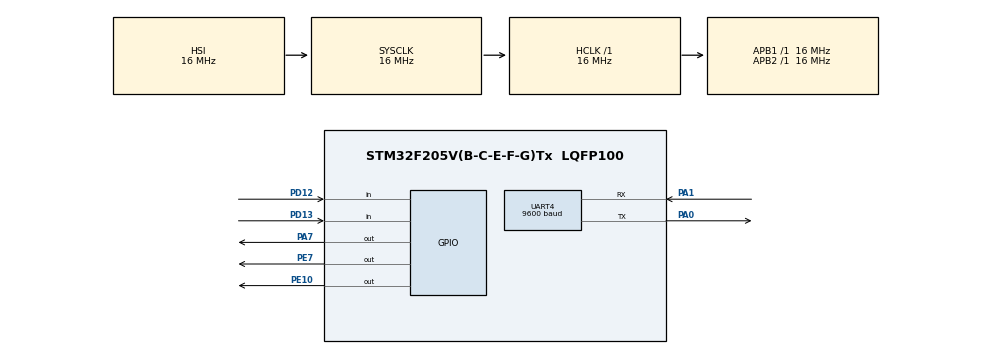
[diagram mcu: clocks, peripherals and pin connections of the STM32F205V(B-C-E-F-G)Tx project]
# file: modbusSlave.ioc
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Mcu.Family=STM32F2
Mcu.Name=STM32F205V(B-C-E-F-G)Tx
Mcu.Package=LQFP100
NVIC.PriorityGroup=NVIC_PRIORITYGROUP_4
NVIC.UART4_IRQn=true\:0\:0\:false\:false\:true\:true\:true\:true
PA0-WKUP.Mode=Asynchronous
PA0-WKUP.Signal=UART4_TX
PA1.Mode=Asynchronous
PA1.Signal=UART4_RX
PA13.Mode=Serial_Wire
PA13.Signal=SYS_JTMS-SWDIO
PA14.Mode=Serial_Wire
PA14.Signal=SYS_JTCK-SWCLK
PA7.PinState=GPIO_PIN_SET
PA7.Signal=GPIO_Output
PD12.GPIO_PuPd=GPIO_PULLUP
PD12.Signal=GPIO_Input
PD13.GPIO_PuPd=GPIO_PULLUP
PD13.Signal=GPIO_Input
PE10.PinState=GPIO_PIN_SET
PE10.Signal=GPIO_Output
PE7.PinState=GPIO_PIN_SET
PE7.Signal=GPIO_Output
ProjectManager.HeapSize=0x200
ProjectManager.StackSize=0x400
ProjectManager.TargetToolchain=STM32CubeIDE
RCC.48MHZClocksFreq_Value=48000000
RCC.AHBFreq_Value=16000000
RCC.APB1Freq_Value=16000000
RCC.APB2Freq_Value=16000000
RCC.CortexFreq_Value=16000000
RCC.HSE_VALUE=25000000
RCC.HSI_VALUE=16000000
RCC.LSE_VALUE=32768
RCC.SYSCLKFreq_VALUE=16000000
RCC.VCOOutputFreq_Value=192000000
UART4.BaudRate=9600
UART4.StopBits=UART_STOPBITS_2
UART4.VirtualMode=Asynchronous
board=custom

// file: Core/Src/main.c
/* USER CODE BEGIN Header */
/**
  ******************************************************************************
  * @file           : main.c
  * @brief          : Main program body
  ******************************************************************************
  * @attention
  *
  * Copyright (c) 2025 STMicroelectronics.
  * All rights reserved.
  *
  * This software is licensed under terms that can be found in the LICENSE file
  * in the root directory of this software component.
  * If no LICENSE file comes with this software, it is provided AS-IS.
  *
  ******************************************************************************
  */
/* USER CODE END Header */
#include "main.h"

/* USER CODE BEGIN Includes */
#include <stdio.h>
#include <string.h>
/* USER CODE END Includes */

/* USER CODE BEGIN PTD */
typedef struct {
  uint8_t low;
  uint8_t high;
} crc_result_t;
/* USER CODE END PTD */

/* USER CODE BEGIN PD */
#define slaveAdd 0x02
#define uartTimeOut 50
/* USER CODE END PD */

/* USER CODE BEGIN PM */
crc_result_t get_CRC16(const uint8_t* data, size_t length);
void Response_ReadHoldingRegister();
void Response_PresetMultipleRegister();
/* USER CODE END PM */

UART_HandleTypeDef huart4;

/* USER CODE BEGIN PV */
uint16_t slaveRegister[0xFF];
uint8_t Tx_buffer[0xFF];
uint8_t Rx_buffer[0xFF];
uint8_t *Header;

/* USER CODE END PV */

void SystemClock_Config(void);
static void MX_GPIO_Init(void);
static void MX_UART4_Init(void);

int main(void)
{

  /* MCU Configuration--------------------------------------------------------*/

  /* Reset of all peripherals, Initializes the Flash interface and the Systick. */
  HAL_Init();

  /* Configure the system clock */
  SystemClock_Config();

  /* Initialize all configured peripherals */
  MX_GPIO_Init();
  MX_UART4_Init();
  /* USER CODE BEGIN 2 */
  HAL_UART_Receive_IT(&huart4, Header, 1);
  /* USER CODE END 2 */

  /* Infinite loop */
  while (1)
  {

  }
}

void SystemClock_Config(void)
{
  RCC_OscInitTypeDef RCC_OscInitStruct = {0};
  RCC_ClkInitTypeDef RCC_ClkInitStruct = {0};

  /** Initializes the RCC Oscillators according to the specified parameters
  * in the RCC_OscInitTypeDef structure.
  */
  RCC_OscInitStruct.OscillatorType = RCC_OSCILLATORTYPE_HSI;
  RCC_OscInitStruct.HSIState = RCC_HSI_ON;
  RCC_OscInitStruct.HSICalibrationValue = RCC_HSICALIBRATION_DEFAULT;
  RCC_OscInitStruct.PLL.PLLState = RCC_PLL_NONE;
  if (HAL_RCC_OscConfig(&RCC_OscInitStruct) != HAL_OK)
  {
    Error_Handler();
  }

  /** Initializes the CPU, AHB and APB buses clocks
  */
  RCC_ClkInitStruct.ClockType = RCC_CLOCKTYPE_HCLK|RCC_CLOCKTYPE_SYSCLK
                              |RCC_CLOCKTYPE_PCLK1|RCC_CLOCKTYPE_PCLK2;
  RCC_ClkInitStruct.SYSCLKSource = RCC_SYSCLKSOURCE_HSI;
  RCC_ClkInitStruct.AHBCLKDivider = RCC_SYSCLK_DIV1;
  RCC_ClkInitStruct.APB1CLKDivider = RCC_HCLK_DIV1;
  RCC_ClkInitStruct.APB2CLKDivider = RCC_HCLK_DIV1;

  if (HAL_RCC_ClockConfig(&RCC_ClkInitStruct, FLASH_LATENCY_0) != HAL_OK)
  {
    Error_Handler();
  }
}

static void MX_UART4_Init(void)
{

  huart4.Instance = UART4;
  huart4.Init.BaudRate = 9600;
  huart4.Init.WordLength = UART_WORDLENGTH_8B;
  huart4.Init.StopBits = UART_STOPBITS_2;
  huart4.Init.Parity = UART_PARITY_NONE;
  huart4.Init.Mode = UART_MODE_TX_RX;
  huart4.Init.HwFlowCtl = UART_HWCONTROL_NONE;
  huart4.Init.OverSampling = UART_OVERSAMPLING_16;
  if (HAL_UART_Init(&huart4) != HAL_OK)
  {
    Error_Handler();
  }

}

static void MX_GPIO_Init(void)
{
  GPIO_InitTypeDef GPIO_InitStruct = {0};

  /* GPIO Ports Clock Enable */
  __HAL_RCC_GPIOA_CLK_ENABLE();
  __HAL_RCC_GPIOE_CLK_ENABLE();
  __HAL_RCC_GPIOD_CLK_ENABLE();

  /*Configure GPIO pin Output Level */
  HAL_GPIO_WritePin(GPIOA, GPIO_PIN_7, GPIO_PIN_SET);

  /*Configure GPIO pin Output Level */
  HAL_GPIO_WritePin(GPIOE, GPIO_PIN_7|GPIO_PIN_10, GPIO_PIN_SET);

  /*Configure GPIO pin : PA7 */
  GPIO_InitStruct.Pin = GPIO_PIN_7;
  GPIO_InitStruct.Mode = GPIO_MODE_OUTPUT_PP;
  GPIO_InitStruct.Pull = GPIO_NOPULL;
  GPIO_InitStruct.Speed = GPIO_SPEED_FREQ_LOW;
  HAL_GPIO_Init(GPIOA, &GPIO_InitStruct);

  /*Configure GPIO pins : PE7 PE10 */
  GPIO_InitStruct.Pin = GPIO_PIN_7|GPIO_PIN_10;
  GPIO_InitStruct.Mode = GPIO_MODE_OUTPUT_PP;
  GPIO_InitStruct.Pull = GPIO_NOPULL;
  GPIO_InitStruct.Speed = GPIO_SPEED_FREQ_LOW;
  HAL_GPIO_Init(GPIOE, &GPIO_InitStruct);

  /*Configure GPIO pins : PD12 PD13 */
  GPIO_InitStruct.Pin = GPIO_PIN_12|GPIO_PIN_13;
  GPIO_InitStruct.Mode = GPIO_MODE_INPUT;
  GPIO_InitStruct.Pull = GPIO_PULLUP;
  HAL_GPIO_Init(GPIOD, &GPIO_InitStruct);

}

/* USER CODE BEGIN 4 */
void HAL_UART_RxCpltCallback(UART_HandleTypeDef *huart)
{
  if(huart->Instance == UART4)
  {
     if (Header != slaveAdd) {                 // Checking address
       HAL_UART_Receive_IT(&huart4, Header, 1);
       return;
     }
    // got it

    HAL_UART_Receive(&huart4, Header, 1, uartTimeOut);      // receive function code
    switch (Header)
    {
    case 0x03:

      //Response_ReadHoldingRegister();
      HAL_UART_Transmit(&huart4, Tx_buffer, 7, uartTimeOut);
      break;
    case 0x10:

      Response_ReadHoldingRegister();
      break;
    default:
      break;
    }
    HAL_UART_Receive_IT(&huart4, Rx_buffer, 1);
  }
}
// Function 0x03 ///////////////////////////////////////////////////
void Response_ReadHoldingRegister()
{
  int cnn = 0;
  Tx_buffer[cnn++] = 2;
  Tx_buffer[cnn++] = 0x03;
  uint8_t temp[2] = {0x00, 0x00};
  HAL_UART_Receive(&huart4, temp, 2, uartTimeOut); // Get the rest of the modbus message
  uint16_t tempRegisterAddress = (temp[0] << 8) | temp[1];
  HAL_UART_Receive(&huart4, temp, 2, uartTimeOut);
  uint16_t tempNumberOfRegister = (temp[0] << 8) | temp[1];
  HAL_UART_Receive(&huart4, temp, 2, uartTimeOut);
  uint16_t tempcrc = (temp[0] << 8) | temp[1];
  Tx_buffer[cnn++] = tempNumberOfRegister * 2; // Byte count
  for (int i = tempRegisterAddress; i < (tempRegisterAddress + tempNumberOfRegister); i++)
  {
    Tx_buffer[cnn++] = (slaveRegister[i] >> 8) & 0xFF; // High byte
    Tx_buffer[cnn++] = slaveRegister[i] & 0xFF;       // Low byte
  }
  // Generate CRC
  crc_result_t crc_result = get_CRC16(Tx_buffer, cnn);
  Tx_buffer[cnn++] = crc_result.low;
  Tx_buffer[cnn++] = crc_result.high;
  // Send message
  HAL_UART_Transmit(&huart4, Tx_buffer, cnn, uartTimeOut);
}
// Function 0x10 ///////////////////////////////////////////////////
void Response_PresetMultipleRegister()
{
  int cnn = 0;
  // Get starting address and number of register
  HAL_UART_Receive(&huart4, Rx_buffer + 2, 5, uartTimeOut);
  uint16_t tempRegisterAddress = (Rx_buffer[2] << 8) | Rx_buffer[3];
  uint16_t tempNumberOfRegister = (Rx_buffer[4] << 8) | Rx_buffer[5];
  uint8_t tempNumberByte = Rx_buffer[6];
  // Get data
  HAL_UART_Receive(&huart4, Rx_buffer + 7, tempNumberByte, uartTimeOut);
  // Sign data to slave's register
  int dataCount = 7;
  for (int i = tempRegisterAddress; i < (tempRegisterAddress + tempNumberOfRegister); i++)
  {
      slaveRegister[i] = Rx_buffer[dataCount] << 8 | Rx_buffer[dataCount + 1];
      dataCount = dataCount + 2;
  }
  // Packing echo response message
  for (int i = 0; i < 6; i++)
  {
    Tx_buffer[i] = Rx_buffer[i];
    cnn = cnn + 1;
  }
  // Generate CRC
  crc_result_t crc_result = get_CRC16(Tx_buffer, cnn);
  Tx_buffer[cnn] = crc_result.low;
  cnn = cnn + 1;
  Tx_buffer[cnn] = crc_result.high;
  cnn = cnn + 1;
  // Send message
  HAL_UART_Transmit(&huart4, Tx_buffer, cnn, uartTimeOut);

}
// CRC generater //////////////////////////////////////////////////
crc_result_t get_CRC16(const uint8_t* data, size_t length)
{
  uint16_t crc = 0xFFFF;

  for (size_t pos = 0; pos < length; pos++)
  {
    crc ^= data[pos];

    for (int i = 8; i != 0; i--)
    {
      if ((crc & 0x0001) != 0)
      {
        crc >>= 1;
        crc ^= 0xA001;
      }
      else
      {
        crc >>= 1;
      }
    }
  }

  crc_result_t result;
  result.low = (uint8_t)(crc & 0xFF);
  result.high = (uint8_t)(crc >> 8);

  return result;
}

/* USER CODE END 4 */

void Error_Handler(void)
{
  __disable_irq();
  while (1)
  {
  }
}
